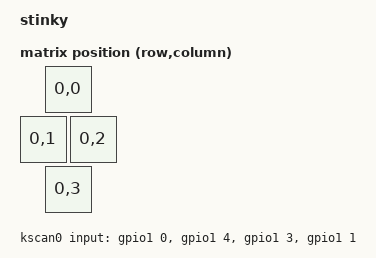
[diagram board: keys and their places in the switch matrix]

/*
 * Copyright (c) 2021 The ZMK Contributors
 *
 * SPDX-License-Identifier: MIT
 */

/dts-v1/;
#include <nordic/nrf52840_qiaa.dtsi>
#include <dt-bindings/zmk/matrix_transform.h>
#include "stinky-layouts.dtsi"

/ {
	model = "stinky";
	compatible = "stinky";

	chosen {
		zephyr,code-partition = &code_partition;
		zephyr,sram = &sram0;
		zephyr,flash = &flash0;
		zmk,kscan = &kscan0;
		zmk,battery = &vbatt;
	};

	default_transform: keymap_transform_0 {
		compatible = "zmk,matrix-transform";
		columns = <4>;
		rows = <1>;
        // |      | SW1  |      |
        // | SW2  |      | SW3  |
        // |      | SW4  |      |

        map = <
                    RC(0,0)        
            RC(0,1)         RC(0,2) 
                    RC(0,3)        
		>;
	};

    kscan0: kscan {
        compatible = "zmk,kscan-gpio-direct";
        wakeup-source;
        input-gpios
            = <&gpio1 0 (GPIO_ACTIVE_LOW | GPIO_PULL_UP)>
            , <&gpio1 4 (GPIO_ACTIVE_LOW | GPIO_PULL_UP)>
            , <&gpio1 3 (GPIO_ACTIVE_LOW | GPIO_PULL_UP)>
            , <&gpio1 1 (GPIO_ACTIVE_LOW | GPIO_PULL_UP)>
            ;
    };

	vbatt: vbatt {
		compatible = "zmk,battery-voltage-divider";
		io-channels = <&adc 3>;
		output-ohms = <2000000>;
		full-ohms = <(2000000 + 1000000)>;
	};
};


&adc {
	status = "okay";
};

&gpiote {
	status = "okay";
};

&gpio0 {
	status = "okay";
};

&gpio1 {
	status = "okay";
};

zephyr_udc0: &usbd {
    status = "okay";
};

&flash0 {
	/*
	 * For more information, see:
	 * http://docs.zephyrproject.org/latest/devices/dts/flash_partitions.html
	 */
	partitions {
		compatible = "fixed-partitions";
		#address-cells = <1>;
		#size-cells = <1>;

		sd_partition: partition@0 {
			label = "softdevice";
			reg = <0x00000000 0x00026000>;
		};
		code_partition: partition@26000 {
			label = "code_partition";
			reg = <0x00026000 0x000c6000>;
		};

		/*
		 * The flash starting at 0x000ec000 and ending at
		 * 0x000f3fff is reserved for use by the application.
		 */

		/*
		 * Storage partition will be used by FCB/LittleFS/NVS
		 * if enabled.
		 */
		storage_partition: partition@ec000 {
			label = "storage";
			reg = <0x000ec000 0x00008000>;
		};

		boot_partition: partition@f4000 {
			label = "adafruit_boot";
			reg = <0x000f4000 0x0000c000>;
		};
	};
};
